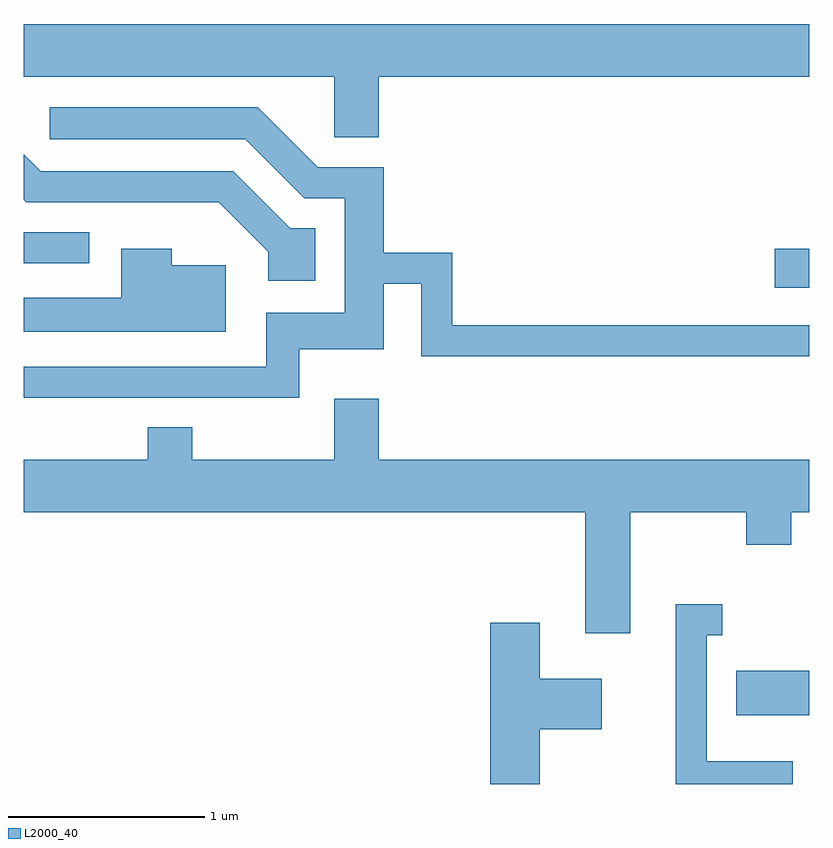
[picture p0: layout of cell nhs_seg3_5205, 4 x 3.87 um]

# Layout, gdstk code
import gdstk
lib = gdstk.Library(unit=1e-6, precision=1e-09)
def R(c, l, rs):  # rectangles x0, y0, x1, y1
    for r in rs: c.add(gdstk.rectangle(r[:2], r[2:], *l))
def P(c, l, *ps):  # polygons
    for p in ps: c.add(gdstk.Polygon(p, *l))
L2000_40 = (2000, 40)

nhs_seg3_5205 = lib.new_cell('nhs_seg3_5205')
R(nhs_seg3_5205, L2000_40, [(341.241,1198.241,341.611,1198.469), (341.436,1200.421,341.611,1200.619), (337.611,1200.546,337.943,1200.704)])
P(nhs_seg3_5205, L2000_40, [(339.419,1201.496),(341.611,1201.496),(341.611,1201.764),(337.611,1201.764),(337.611,1201.496),(339.191,1201.496),(339.191,1201.186),(339.419,1201.186)],
  [(339.014,1200.106),(339.444,1200.106),(339.444,1200.441),(339.636,1200.441),(339.636,1200.071),(341.611,1200.071),(341.611,1200.229),(339.794,1200.229),(339.794,1200.599),(339.444,1200.599),(339.444,1201.034),(339.107,1201.034),(338.802,1201.339),(337.743,1201.339),(337.743,1201.176),(338.739,1201.176),(339.039,1200.876),(339.246,1200.876),(339.246,1200.294),(338.846,1200.294),(338.846,1200.019),(337.611,1200.019),(337.611,1199.861),(339.014,1199.861)],
  [(339.094,1200.724),(338.967,1200.724),(338.677,1201.014),(337.697,1201.014),(337.611,1201.1),(337.611,1200.869),(337.624,1200.856),(338.604,1200.856),(338.856,1200.604),(338.856,1200.456),(339.094,1200.456)],
  [(338.639,1200.534),(338.364,1200.534),(338.364,1200.619),(338.106,1200.619),(338.106,1200.369),(337.611,1200.369),(337.611,1200.196),(338.639,1200.196)],
  [(340.699,1199.276),(341.291,1199.276),(341.291,1199.111),(341.519,1199.111),(341.519,1199.276),(341.611,1199.276),(341.611,1199.544),(339.419,1199.544),(339.419,1199.854),(339.191,1199.854),(339.191,1199.544),(338.469,1199.544),(338.469,1199.709),(338.241,1199.709),(338.241,1199.544),(337.611,1199.544),(337.611,1199.276),(340.471,1199.276),(340.471,1198.661),(340.699,1198.661)],
  [(341.529,1198.009),(341.089,1198.009),(341.089,1198.651),(341.168,1198.651),(341.168,1198.809),(340.931,1198.809),(340.931,1197.892),(341.529,1197.892)],
  [(340.239,1198.171),(340.554,1198.171),(340.554,1198.429),(340.239,1198.429),(340.239,1198.714),(339.986,1198.714),(339.986,1197.892),(340.239,1197.892)])

lib.write_gds('nhs_seg3_5205.gds')
